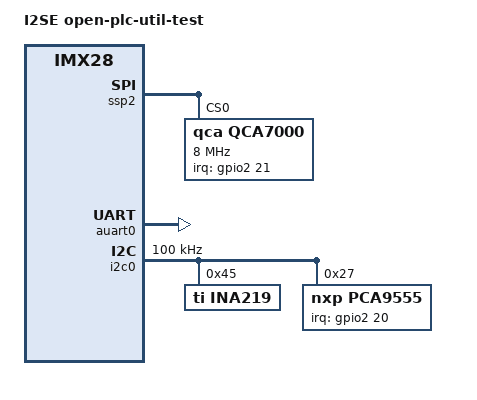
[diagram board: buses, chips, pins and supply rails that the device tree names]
/*
 * Copyright (C) 2016 I2SE GmbH <info@i2se.com>
 *
 * The code contained herein is licensed under the GNU General Public
 * License. You may obtain a copy of the GNU General Public License
 * Version 2 or later at the following locations:
 *
 * http://www.opensource.org/licenses/gpl-license.html
 * http://www.gnu.org/copyleft/gpl.html
 */

/dts-v1/;
#include <dt-bindings/interrupt-controller/irq.h>
#include "imx28-duckbill-2-common.dtsi"

/ {
	model = "I2SE open-plc-util-test";
	compatible = "i2se,duckbill", "fsl,imx28";

	aliases {
		ethernet1 = &qca7000;
	};

	apb@80000000 {
		apbh@80000000 {
			ssp2: ssp@80014000 {
				compatible = "fsl,imx28-spi";
				pinctrl-names = "default";
				pinctrl-0 = <&spi2_pins_a>;
				status = "okay";

				qca7000: ethernet@0 {
					compatible = "qca,qca7000";
					pinctrl-names = "default";
					pinctrl-0 = <&qca7000_int>;
					reg = <0>;
					interrupt-parent = <&gpio2>;
					interrupts = <21 IRQ_TYPE_EDGE_RISING>;
					spi-cpha;
					spi-cpol;
					spi-max-frequency = <8000000>;
				};
			};

			pinctrl@80018000 {
				qca7000_int: qca7000-int@0 {
					reg = <0>;
					fsl,pinmux-ids = <
						MX28_PAD_SSP2_SS2__GPIO_2_21
					>;
					fsl,drive-strength = <MXS_DRIVE_4mA>;
					fsl,voltage = <MXS_VOLTAGE_HIGH>;
					fsl,pull-up = <MXS_PULL_DISABLE>;
				};

				i2c_int: i2c-int@0 {
					reg = <0>;
					fsl,pinmux-ids = <
						MX28_PAD_SSP2_SS1__GPIO_2_20
					>;
					fsl,drive-strength = <MXS_DRIVE_4mA>;
					fsl,voltage = <MXS_VOLTAGE_HIGH>;
					fsl,pull-up = <MXS_PULL_DISABLE>;
				};
			};
		};

		apbx@80040000 {
			auart0: serial@8006a000 {
				pinctrl-names = "default";
				pinctrl-0 = <&auart0_pins_a>;
				status = "okay";
			};

			i2c0: i2c@80058000 {
				pinctrl-names = "default";
				pinctrl-0 = <&i2c0_pins_a>;
				clock-frequency = <100000>;
				status = "okay";

				/* JP3_1 + JP4_1 must be closed */
				ina219: ina219@45 {
					compatible = "ti,ina219";
					reg = <0x45>;
					shunt-resistor = <330000>;
				};

				/* all JP1 must be open */
				pca9555: pca9555@27 {
					compatible = "nxp,pca9555";
					reg = <0x27>;
					gpio-controller;
					#gpio-cells = <2>;
					interrupt-parent = <&gpio2>;
					interrupts = <20 IRQ_TYPE_LEVEL_LOW>;
				};
			};
		};
	};
};
